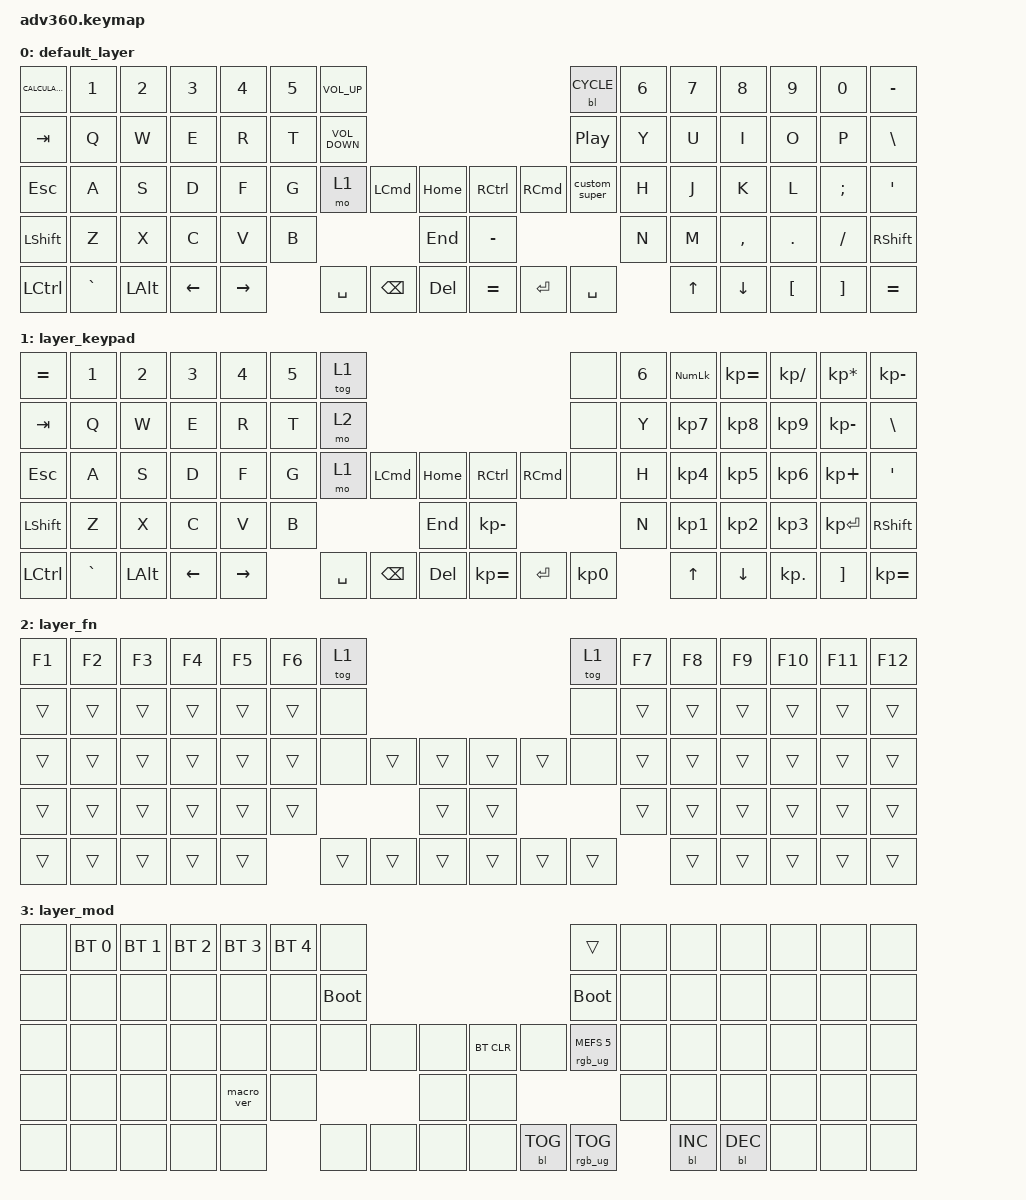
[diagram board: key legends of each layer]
/*
 * Copyright (c) 2020 The ZMK Contributors
 *
 * SPDX-License-Identifier: MIT
 */
/* THIS FILE WAS GENERATED!
 *
 * This file was generated automatically. You may or may not want to
 * edit it directly.
 */

#include <behaviors.dtsi>
#include <dt-bindings/zmk/backlight.h>
#include <dt-bindings/zmk/bt.h>
#include <dt-bindings/zmk/keys.h>
#include <dt-bindings/zmk/rgb.h>

/ {
    behaviors {
        #include "macros.dtsi"
    #include "version.dtsi"

        hm: homerow_mods {
            compatible = "zmk,behavior-hold-tap";
            label = "HOMEROW_MODS";
            #binding-cells = <2>;
            tapping-term-ms = <200>;
            quick_tap_ms = <175>;
            flavor = "tap-preferred";
            bindings = <&kp>, <&kp>;
        };
    };

    macros {
        custom_super: custom_super {
            compatible = "zmk,behavior-macro";
            #binding-cells = <0>;
            bindings = <&kp RA(RC(RIGHT_GUI))>;
            label = "CUSTOM_SUPER";
        };
    };

    keymap {
        compatible = "zmk,keymap";

        default_layer {
            bindings = <
&kp K_CALCULATOR  &kp N1     &kp N2        &kp N3    &kp N4     &kp N5  &kp C_VOLUME_UP                                                                            &bl BL_CYCLE      &kp N6  &kp N7  &kp N8     &kp N9    &kp N0    &kp MINUS
&kp TAB           &kp Q      &kp W         &kp E     &kp R      &kp T   &kp C_VOLUME_DOWN                                                                          &kp C_PLAY_PAUSE  &kp Y   &kp U   &kp I      &kp O     &kp P     &kp BSLH
&kp ESC           &kp A      &kp S         &kp D     &kp F      &kp G   &mo 1              &kp LEFT_COMMAND  &kp HOME        &kp RIGHT_CONTROL  &kp RIGHT_COMMAND  &custom_super     &kp H   &kp J   &kp K      &kp L     &kp SEMI  &kp SQT
&kp LSHFT         &kp Z      &kp X         &kp C     &kp V      &kp B                                        &kp END         &kp MINUS                                               &kp N   &kp M   &kp COMMA  &kp DOT   &kp FSLH  &kp RSHFT
&kp LEFT_CONTROL  &kp GRAVE  &kp LEFT_ALT  &kp LEFT  &kp RIGHT          &kp SPACE          &kp BACKSPACE     &kp DELETE      &kp EQUAL          &kp ENTER          &kp SPACE                 &kp UP  &kp DOWN   &kp LBKT  &kp RBKT  &kp EQUAL
            >;
        };

        layer_keypad {
            bindings = <
&kp EQUAL         &kp N1     &kp N2        &kp N3    &kp N4     &kp N5  &tog 1                                                                             &none      &kp N6  &kp KP_NUM  &kp KP_EQUAL  &kp KP_DIVIDE  &kp KP_MULTIPLY  &kp KP_MINUS
&kp TAB           &kp Q      &kp W         &kp E     &kp R      &kp T   &mo 2                                                                              &none      &kp Y   &kp KP_N7   &kp KP_N8     &kp KP_N9      &kp KP_MINUS     &kp BSLH
&kp ESC           &kp A      &kp S         &kp D     &kp F      &kp G   &mo 1      &kp LEFT_COMMAND  &kp HOME        &kp RIGHT_CONTROL  &kp RIGHT_COMMAND  &none      &kp H   &kp KP_N4   &kp KP_N5     &kp KP_N6      &kp KP_PLUS      &kp SQT
&kp LSHFT         &kp Z      &kp X         &kp C     &kp V      &kp B                                &kp END         &kp KP_MINUS                                     &kp N   &kp KP_N1   &kp KP_N2     &kp KP_N3      &kp KP_ENTER     &kp RSHFT
&kp LEFT_CONTROL  &kp GRAVE  &kp LEFT_ALT  &kp LEFT  &kp RIGHT          &kp SPACE  &kp BACKSPACE     &kp DELETE      &kp KP_EQUAL       &kp ENTER          &kp KP_N0          &kp UP      &kp DOWN      &kp KP_DOT     &kp RBKT         &kp KP_EQUAL
            >;
        };

        layer_fn {
            bindings = <
&kp F1  &kp F2  &kp F3  &kp F4  &kp F5  &kp F6  &tog 1                                      &tog 1  &kp F7  &kp F8  &kp F9  &kp F10  &kp F11  &kp F12
&trans  &trans  &trans  &trans  &trans  &trans  &none                                       &none   &trans  &trans  &trans  &trans   &trans   &trans
&trans  &trans  &trans  &trans  &trans  &trans  &none   &trans  &trans      &trans  &trans  &none   &trans  &trans  &trans  &trans   &trans   &trans
&trans  &trans  &trans  &trans  &trans  &trans                  &trans      &trans                  &trans  &trans  &trans  &trans   &trans   &trans
&trans  &trans  &trans  &trans  &trans          &trans  &trans  &trans      &trans  &trans  &trans          &trans  &trans  &trans   &trans   &trans
            >;
        };

        layer_mod {
            bindings = <
&none  &bt BT_SEL 0  &bt BT_SEL 1  &bt BT_SEL 2  &bt BT_SEL 3  &bt BT_SEL 4  &none                                                  &trans                  &none  &none       &none       &none  &none  &none
&none  &none         &none         &none         &none         &none         &bootloader                                            &bootloader             &none  &none       &none       &none  &none  &none
&none  &none         &none         &none         &none         &none         &none        &none  &none      &bt BT_CLR  &none       &rgb_ug RGB_MEFS_CMD 5  &none  &none       &none       &none  &none  &none
&none  &none         &none         &none         &macro_ver    &none                             &none      &none                                           &none  &none       &none       &none  &none  &none
&none  &none         &none         &none         &none                       &none        &none  &none      &none       &bl BL_TOG  &rgb_ug RGB_TOG                &bl BL_INC  &bl BL_DEC  &none  &none  &none
            >;
        };
    };
};
